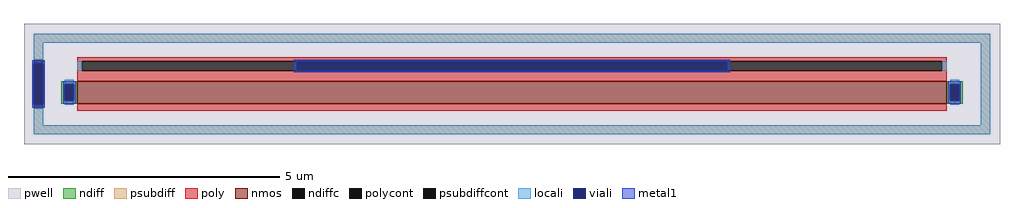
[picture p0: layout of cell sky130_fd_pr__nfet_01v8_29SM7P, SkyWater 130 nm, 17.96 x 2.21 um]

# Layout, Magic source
magic
tech sky130A
magscale 1 2
<< pwell >>
rect -1796 -221 1796 221
<< nmos >>
rect -1600 -73 1600 11
<< ndiff >>
rect -1658 -1 -1600 11
rect -1658 -61 -1646 -1
rect -1612 -61 -1600 -1
rect -1658 -73 -1600 -61
rect 1600 -1 1658 11
rect 1600 -61 1612 -1
rect 1646 -61 1658 -1
rect 1600 -73 1658 -61
<< ndiffc >>
rect -1646 -61 -1612 -1
rect 1612 -61 1646 -1
<< psubdiff >>
rect -1760 151 1760 185
rect -1760 89 -1726 151
rect -1760 -151 -1726 -89
rect 1726 -151 1760 151
rect -1760 -185 1760 -151
<< psubdiffcont >>
rect -1760 -89 -1726 89
<< poly >>
rect -1600 83 1600 99
rect -1600 49 -1584 83
rect 1584 49 1600 83
rect -1600 11 1600 49
rect -1600 -99 1600 -73
<< polycont >>
rect -1584 49 1584 83
<< locali >>
rect -1760 151 1760 185
rect -1760 89 -1726 151
rect -1600 49 -1584 83
rect 1584 49 1600 83
rect -1646 -1 -1612 15
rect -1646 -77 -1612 -61
rect 1612 -1 1646 15
rect 1612 -77 1646 -61
rect -1760 -151 -1726 -89
rect 1726 -151 1760 151
rect -1760 -185 1760 -151
<< viali >>
rect -1760 -76 -1726 76
rect -792 49 792 83
rect -1646 -61 -1612 -1
rect 1612 -61 1646 -1
<< metal1 >>
rect -1766 76 -1720 88
rect -1766 -76 -1760 76
rect -1726 -76 -1720 76
rect -804 83 804 89
rect -804 49 -792 83
rect 792 49 804 83
rect -804 43 804 49
rect -1652 -1 -1606 11
rect -1652 -61 -1646 -1
rect -1612 -61 -1606 -1
rect -1652 -73 -1606 -61
rect 1606 -1 1652 11
rect 1606 -61 1612 -1
rect 1646 -61 1652 -1
rect 1606 -73 1652 -61
rect -1766 -88 -1720 -76
<< properties >>
string FIXED_BBOX -1743 -168 1743 168
string gencell sky130_fd_pr__nfet_01v8
string library sky130
string parameters w 0.42 l 16.0 m 1 nf 1 diffcov 100 polycov 100 guard 1 glc 1 grc 0 gtc 0 gbc 0 tbcov 100 rlcov 100 topc 1 botc 0 poverlap 0 doverlap 1 lmin 0.15 wmin 0.42 compatible {sky130_fd_pr__nfet_01v8 sky130_fd_pr__nfet_01v8_lvt  sky130_fd_bs_flash__special_sonosfet_star  sky130_fd_pr__nfet_g5v0d10v5 sky130_fd_pr__nfet_05v0_nvt  sky130_fd_pr__nfet_03v3_nvt} full_metal 1 viasrc 100 viadrn 100 viagate 50 viagb 0 viagr 0 viagl 50 viagt 0
<< end >>
